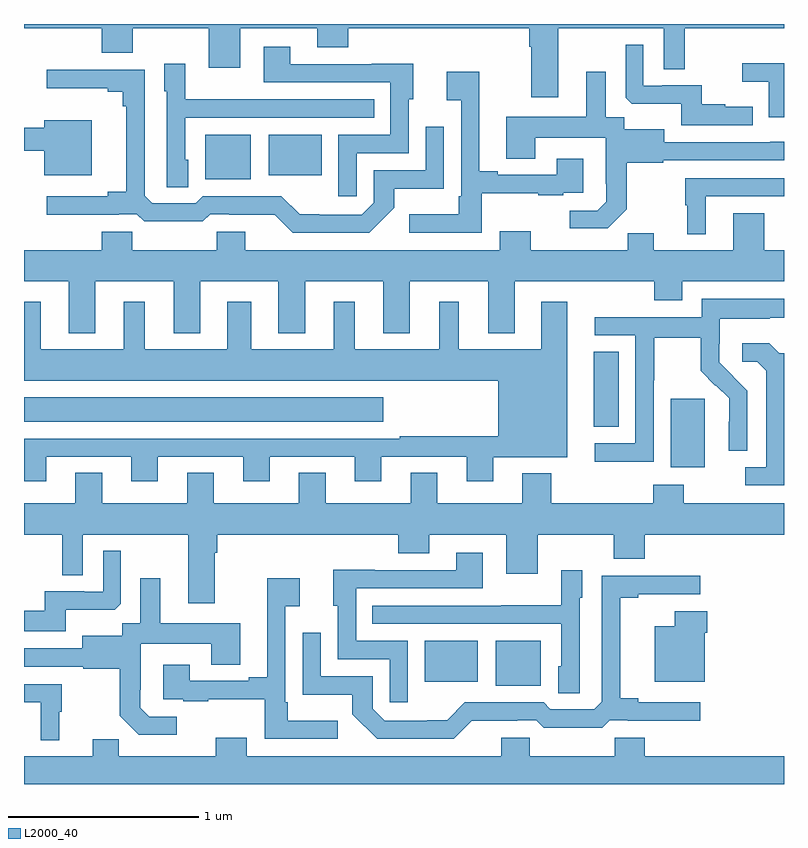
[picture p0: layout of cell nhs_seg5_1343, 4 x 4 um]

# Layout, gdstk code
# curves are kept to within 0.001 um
import gdstk
lib = gdstk.Library(unit=1e-6, precision=1e-09)
def R(c, l, rs):  # rectangles x0, y0, x1, y1
    for r in rs: c.add(gdstk.rectangle(r[:2], r[2:], *l))
def P(c, l, *ps):  # polygons
    for p in ps: c.add(gdstk.Polygon(p, *l))
L2000_40 = (2000, 40)

nhs_seg5_1343 = lib.new_cell('nhs_seg5_1343')
R(nhs_seg5_1343, L2000_40, [(195.482,837.317,195.721,837.553), (195.11,837.338,195.388,837.553), (196.403,838.466,196.582,838.827), (195.998,838.678,196.129,839.075), (193,838.706,194.89,838.834), (193.955,839.981,194.194,840.217), (194.288,840.002,194.566,840.217)])
P(nhs_seg5_1343, L2000_40, [(193,840.776),(193.409,840.776),(193.409,840.648),(193.573,840.648),(193.573,840.776),(193.973,840.776),(193.973,840.57),(194.137,840.57),(194.137,840.776),(194.543,840.776),(194.543,840.677),(194.707,840.677),(194.707,840.776),(195.659,840.776),(195.659,840.68),(195.671,840.68),(195.671,840.414),(195.811,840.414),(195.811,840.776),(196.368,840.776),(196.368,840.562),(196.477,840.562),(196.477,840.776),(197,840.776),(197,840.799),(193,840.799)],
  [(196.835,840.364),(196.691,840.364),(196.691,840.376),(196.568,840.376),(196.568,840.477),(196.36,840.477),(196.36,840.474),(196.26,840.474),(196.26,840.691),(196.167,840.691),(196.167,840.411),(196.199,840.38),(196.458,840.38),(196.458,840.267),(196.835,840.267)],
  [(194.751,840.12),(195.024,840.12),(195.024,840.402),(195.049,840.402),(195.049,840.59),(194.831,840.59),(194.831,840.588),(194.401,840.588),(194.401,840.679),(194.261,840.679),(194.261,840.492),(194.928,840.492),(194.928,840.216),(194.655,840.216),(194.655,839.892),(194.751,839.892)],
  [(197,840.593),(196.779,840.593),(196.779,840.494),(196.92,840.494),(196.92,840.309),(197,840.309)],
  [(193.864,840.084),(193.848,840.084),(193.848,840.306),(194.843,840.306),(194.843,840.402),(194.165,840.402),(194.165,840.403),(193.848,840.403),(193.848,840.589),(193.739,840.589),(193.739,840.444),(193.752,840.444),(193.752,839.941),(193.864,839.941)],
  [(194.949,839.831),(194.949,839.933),(195.21,839.933),(195.21,840.259),(195.114,840.259),(195.114,840.03),(194.841,840.03),(194.841,839.859),(194.778,839.796),(194.554,839.796),(194.554,839.798),(194.45,839.798),(194.355,839.892),(193.941,839.892),(193.905,839.856),(193.674,839.856),(193.635,839.895),(193.635,840.558),(193.119,840.558),(193.119,840.461),(193.442,840.461),(193.442,840.442),(193.519,840.442),(193.519,840.365),(193.538,840.365),(193.538,839.915),(193.442,839.915),(193.442,839.892),(193.119,839.892),(193.119,839.795),(193.499,839.795),(193.499,839.799),(193.593,839.799),(193.633,839.76),(193.941,839.76),(193.98,839.799),(194.08,839.799),(194.08,839.795),(194.321,839.795),(194.415,839.7),(194.818,839.7)],
  [(195.409,839.909),(195.707,839.909),(195.707,839.898),(195.839,839.898),(195.839,839.91),(195.943,839.91),(195.943,840.091),(195.803,840.091),(195.803,840.006),(195.493,840.006),(195.493,840.025),(195.397,840.025),(195.397,840.547),(195.225,840.547),(195.225,840.398),(195.3,840.398),(195.3,839.893),(195.288,839.893),(195.288,839.797),(195.027,839.797),(195.027,839.7),(195.409,839.7)],
  [(196.173,839.823),(196.173,840.069),(196.365,840.069),(196.365,840.081),(197,840.081),(197,840.178),(196.369,840.177),(196.369,840.244),(196.158,840.244),(196.158,840.308),(196.063,840.308),(196.063,840.547),(195.959,840.547),(195.959,840.31),(195.539,840.31),(195.539,840.091),(195.691,840.091),(195.691,840.2),(196.062,840.2),(196.062,839.959),(196.064,839.959),(196.064,839.864),(196.017,839.817),(195.873,839.817),(195.873,839.723),(196.073,839.723)],
  [(193.357,840.292),(193.106,840.292),(193.106,840.253),(193,840.253),(193,840.131),(193.106,840.131),(193.106,840.002),(193.357,840.002)],
  [(196.588,839.892),(197,839.892),(197,839.988),(196.479,839.988),(196.479,839.844),(196.49,839.844),(196.49,839.693),(196.588,839.693)],
  [(193.375,839.444),(193.787,839.444),(193.787,839.171),(193.927,839.171),(193.927,839.444),(194.339,839.444),(194.339,839.171),(194.479,839.171),(194.479,839.444),(194.891,839.444),(194.891,839.171),(195.031,839.171),(195.031,839.444),(195.443,839.444),(195.443,839.171),(195.583,839.171),(195.583,839.444),(196.318,839.444),(196.318,839.345),(196.465,839.345),(196.465,839.444),(197,839.444),(197,839.608),(196.897,839.608),(196.897,839.803),(196.733,839.803),(196.733,839.608),(196.315,839.608),(196.315,839.699),(196.177,839.699),(196.177,839.608),(195.667,839.608),(195.667,839.707),(195.503,839.707),(195.503,839.608),(194.164,839.608),(194.164,839.706),(194.014,839.706),(194.014,839.608),(193.569,839.608),(193.569,839.706),(193.409,839.706),(193.409,839.608),(193,839.608),(193,839.444),(193.235,839.444),(193.235,839.171),(193.375,839.171)],
  [(196.314,838.924),(196.317,838.924),(196.317,839.148),(196.561,839.148),(196.561,838.973),(196.638,838.896),(196.641,838.899),(196.712,838.829),(196.712,838.706),(196.71,838.706),(196.71,838.552),(196.806,838.552),(196.806,838.87),(196.66,839.018),(196.66,839.115),(196.662,839.115),(196.662,839.249),(196.925,839.249),(196.925,839.253),(197,839.253),(197,839.353),(196.566,839.353),(196.566,839.256),(196.005,839.256),(196.005,839.16),(196.218,839.16),(196.218,838.593),(196.005,838.593),(196.005,838.495),(196.314,838.495)],
  [(193.117,838.521),(193.565,838.521),(193.565,838.392),(193.705,838.392),(193.705,838.521),(194.153,838.521),(194.153,838.392),(194.293,838.392),(194.293,838.521),(194.741,838.521),(194.741,838.392),(194.881,838.392),(194.881,838.521),(195.329,838.521),(195.329,838.392),(195.469,838.392),(195.469,838.52),(195.859,838.52),(195.859,839.338),(195.722,839.338),(195.722,839.086),(195.289,839.086),(195.289,839.338),(195.185,839.338),(195.185,839.086),(194.74,839.086),(194.74,839.338),(194.63,839.338),(194.63,839.086),(194.197,839.086),(194.197,839.338),(194.069,839.338),(194.069,839.086),(193.636,839.086),(193.636,839.338),(193.526,839.338),(193.526,839.086),(193.087,839.086),(193.087,839.338),(193,839.338),(193,838.922),(195.497,838.922),(195.497,838.63),(194.977,838.63),(194.977,838.617),(193,838.617),(193,838.392),(193.117,838.392)],
  [(197,839.067),(196.974,839.067),(196.922,839.119),(196.779,839.119),(196.779,839.022),(196.86,839.022),(196.907,838.975),(196.907,838.467),(196.797,838.467),(196.797,838.371),(197,838.371)],
  [(193,838.112),(193.2,838.112),(193.2,837.898),(193.308,837.898),(193.308,838.112),(193.865,838.112),(193.865,837.75),(194.005,837.75),(194.005,838.016),(194.018,838.016),(194.018,838.112),(194.969,838.112),(194.969,838.013),(195.133,838.013),(195.133,838.112),(195.539,838.112),(195.539,837.906),(195.703,837.906),(195.703,838.112),(196.103,838.112),(196.103,837.984),(196.267,837.984),(196.267,838.112),(197,838.112),(197,838.276),(196.473,838.276),(196.473,838.375),(196.313,838.375),(196.313,838.276),(195.776,838.276),(195.776,838.435),(195.623,838.435),(195.623,838.276),(195.175,838.276),(195.175,838.436),(195.035,838.436),(195.035,838.276),(194.587,838.276),(194.587,838.436),(194.447,838.436),(194.447,838.276),(193.999,838.276),(193.999,838.436),(193.859,838.436),(193.859,838.276),(193.411,838.276),(193.411,838.436),(193.271,838.436),(193.271,838.276),(193,838.276)],
  [(193.219,837.716),(193.477,837.716),(193.509,837.747),(193.509,838.027),(193.416,838.027),(193.416,837.81),(193.316,837.81),(193.316,837.813),(193.109,837.813),(193.109,837.712),(193,837.712),(193,837.603),(193.219,837.603)],
  [(195.021,837.552),(194.748,837.552),(194.748,837.828),(195.415,837.828),(195.415,838.015),(195.275,838.015),(195.275,837.924),(194.845,837.924),(194.845,837.926),(194.627,837.926),(194.627,837.738),(194.652,837.738),(194.652,837.456),(194.925,837.456),(194.925,837.228),(195.021,837.228)],
  [(195.924,837.78),(195.937,837.78),(195.937,837.925),(195.828,837.925),(195.828,837.739),(195.511,837.739),(195.511,837.738),(194.833,837.738),(194.833,837.642),(195.828,837.642),(195.828,837.42),(195.812,837.42),(195.812,837.277),(195.924,837.277)],
  [(195.356,837.131),(195.596,837.131),(195.596,837.135),(195.696,837.135),(195.736,837.096),(196.043,837.096),(196.083,837.135),(196.177,837.135),(196.177,837.131),(196.558,837.131),(196.558,837.228),(196.234,837.228),(196.234,837.251),(196.139,837.251),(196.139,837.778),(196.234,837.778),(196.234,837.798),(196.558,837.798),(196.558,837.894),(196.041,837.894),(196.041,837.231),(196.002,837.192),(195.771,837.192),(195.735,837.228),(195.321,837.228),(195.227,837.134),(195.122,837.134),(195.122,837.132),(194.898,837.132),(194.835,837.195),(194.835,837.366),(194.562,837.366),(194.562,837.595),(194.466,837.595),(194.466,837.269),(194.728,837.269),(194.728,837.167),(194.858,837.036),(195.261,837.036)],
  [(193.804,837.153),(193.659,837.153),(193.612,837.2),(193.612,837.295),(193.614,837.295),(193.614,837.536),(193.985,837.536),(193.985,837.427),(194.137,837.427),(194.137,837.646),(193.717,837.646),(193.717,837.883),(193.613,837.883),(193.613,837.644),(193.518,837.644),(193.518,837.58),(193.307,837.58),(193.307,837.513),(193,837.513),(193,837.417),(193.311,837.417),(193.311,837.405),(193.503,837.405),(193.503,837.159),(193.603,837.059),(193.804,837.059)],
  [(194.65,837.133),(194.389,837.133),(194.389,837.229),(194.376,837.229),(194.376,837.734),(194.452,837.734),(194.452,837.883),(194.279,837.883),(194.279,837.361),(194.183,837.361),(194.183,837.342),(193.873,837.342),(193.873,837.427),(193.733,837.427),(193.733,837.246),(193.837,837.246),(193.837,837.234),(193.969,837.234),(193.969,837.245),(194.268,837.245),(194.268,837.036),(194.65,837.036)],
  [(196.582,837.596),(196.595,837.596),(196.595,837.709),(196.424,837.709),(196.424,837.628),(196.319,837.628),(196.319,837.338),(196.582,837.338)],
  [(193.186,837.18),(193.198,837.18),(193.198,837.324),(193,837.324),(193,837.228),(193.088,837.228),(193.088,837.029),(193.186,837.029)],
  [(197,836.944),(196.268,836.944),(196.268,837.042),(196.108,837.042),(196.108,836.944),(195.663,836.944),(195.663,837.042),(195.512,837.042),(195.512,836.944),(194.173,836.944),(194.173,837.043),(194.009,837.043),(194.009,836.944),(193.499,836.944),(193.499,837.035),(193.361,837.035),(193.361,836.944),(193,836.944),(193,836.799),(197,836.799)])

lib.write_gds('nhs_seg5_1343.gds')
